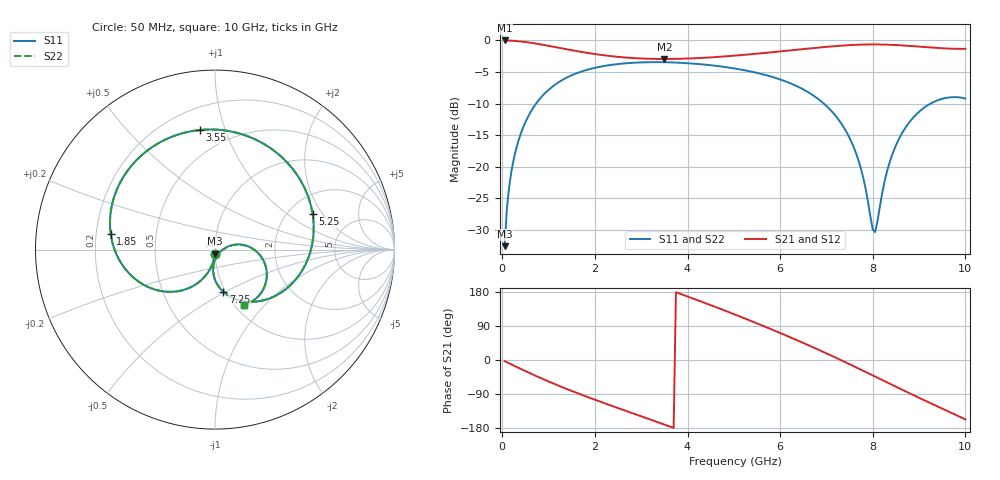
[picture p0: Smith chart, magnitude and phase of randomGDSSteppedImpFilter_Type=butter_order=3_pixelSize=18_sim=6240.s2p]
! freq	dB(S11)	phase(S11)	dB(S12)	phase(S12)
!  dB(S21)	phase(S21)	dB(S22)	phase(S22)
!S-par simulation data
#  GHz  S  DB  R 50
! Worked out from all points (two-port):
!   200 points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, 50 MHz to 10 GHz, reference 50 ohm
!   highest |S21| = 0.00 dB at 50 MHz (marker M1); lowest = -2.9 dB at 3.5 GHz (marker M2)
!   |S21| within 3 dB of the highest: start of sweep to end of sweep
!   lowest |S11| = -32.6 dB at 50 MHz (marker M3), VSWR 1.05, Z = 49.8 - j2.34 ohm
!   |S11| at or under -10 dB: start of sweep to 731.3 MHz; 6.942 GHz to 9.249 GHz (2.307 GHz wide, 28.5 % of centre)
!   |S22| runs from -32.6 to -3.4 dB; largest |S21 - S12| = 0
!   S11 on the Smith chart (normalised r, x): 50 MHz: 1.00, -0.05; 1.85 GHz: 0.26, +0.07; 3.55 GHz: 0.34, +0.82; 5.25 GHz: 2.69, +1.60; 7.25 GHz: 0.98, -0.49; 10 GHz: 1.10, -0.77
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0.05  -32.59 -92.9  -0.00 -3.0  -0.00 -3.0  -32.59 -92.9
0.1  -26.58 -95.9  -0.01 -5.9  -0.01 -5.9  -26.58 -95.9
0.2  -20.60 -101.9  -0.04 -11.9  -0.04 -11.9  -20.60 -101.9
0.5  -12.93 -119.5  -0.25 -29.3  -0.25 -29.3  -12.93 -119.5
1.1  -7.22 -152.4  -0.99 -61.9  -0.99 -61.9  -7.22 -152.4
1.75  -4.83 175.9  -1.87 -93.5  -1.87 -93.5  -4.83 175.9
1.85  -4.61 171.3  -1.99 -98.1  -1.99 -98.1  -4.61 171.3
2.55  -3.70 140.3  -2.64 -129.1  -2.64 -129.1  -3.70 140.3
3.4  -3.44 103.7  -2.93 -165.9  -2.93 -165.9  -3.44 103.7
3.5  -3.45 99.4  -2.94 -170.2  -2.94 -170.2  -3.45 99.4
3.55  -3.46 97.2  -2.94 -172.4  -2.94 -172.4  -3.46 97.2
4.3  -3.78 64.0  -2.77 154.0  -2.77 154.0  -3.78 64.0
5.05  -4.48 29.4  -2.39 118.7  -2.39 118.7  -4.48 29.5
5.25  -4.75 20.0  -2.26 109.0  -2.26 109.0  -4.75 20.0
6  -6.18 -16.5  -1.74 71.3  -1.74 71.3  -6.18 -16.4
6.7  -8.64 -51.6  -1.22 34.1  -1.22 34.1  -8.64 -51.4
7.25  -12.44 -79.0  -0.86 3.3  -0.86 3.3  -12.43 -78.7
7.7  -19.20 -95.7  -0.67 -22.9  -0.67 -22.9  -19.17 -95.1
8.05  -30.37 -31.5  -0.63 -43.7  -0.63 -43.7  -30.03 -32.0
8.35  -19.65 14.6  -0.68 -61.6  -0.68 -61.6  -19.63 14.0
9.1  -10.70 -16.6  -1.04 -105.6  -1.04 -105.6  -10.70 -16.8
10  -9.21 -62.5  -1.33 -156.7  -1.33 -156.7  -9.21 -62.6
